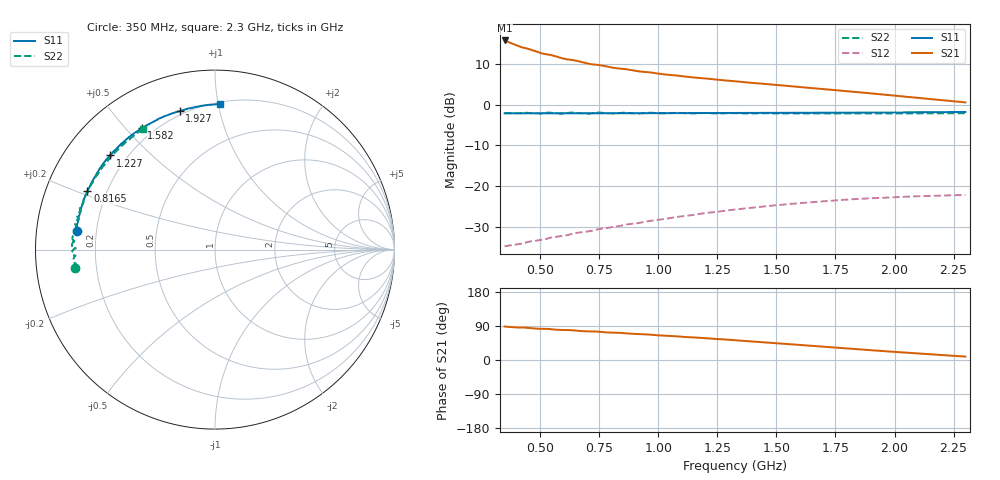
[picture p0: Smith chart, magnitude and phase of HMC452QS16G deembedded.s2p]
! Hittite Microwave Corporation
! 20 Alpha Road
! Chelmsford, MA 01824
! http://www.hittite.com
! Tel: 978-250-3343
! Fax: 978-250-3373
! Device: HMC452QS16G, .4-2.2 GHz, InGaP HBT 1 Watt Power Amplifier
! Misc: Vdd=+5V,  Room
!  Deemebedded small signal s-parameters to the package pins.
# MHZ S MA R 50
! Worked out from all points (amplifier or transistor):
!   210 points, 350 MHz to 2.3 GHz, reference 50 ohm
!   highest |S21| = 15.7 dB at 350 MHz (marker M1)
!   |S21| within 3 dB of that: start of sweep to 499.7 MHz
!   unconditionally stable (mu >= 1): start of sweep to end of sweep
!   at 676.6 MHz: K = 1.38, MAG = 17.2 dB, |S12| = -31.3 dB
!   at 1.33 GHz: K = 1.35, MAG = 12.1 dB, |S12| = -25.7 dB
!   at 2.3 GHz: K = 1.45, MAG = 7.3 dB, |S12| = -22.2 dB
!   S11 on the Smith chart (normalised r, x): 350 MHz: 0.13, +0.07; 816.5 MHz: 0.13, +0.22; 1.227 GHz: 0.14, +0.38; 1.582 GHz: 0.15, +0.55; 1.927 GHz: 0.18, +0.76; 2.3 GHz: 0.21, +1.01
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350  0.7779 172.3  6.089 88.4  0.01841 36.0  0.7883 -172.4
387.3206  0.7796 170.9  5.497 86.4  0.01911 36.9  0.7809 -173.9
415.311  0.7811 169.9  5.096 85.6  0.01956 38.2  0.7821 -174.4
433.9713  0.7801 169.1  4.933 85.5  0.02021 39.5  0.7924 -175.4
471.2919  0.7796 167.9  4.59 83.4  0.02127 39.8  0.7827 -177.2
508.6124  0.7805 166.6  4.228 82.3  0.02196 41.0  0.7785 -177.5
527.2727  0.7807 165.9  4.118 82.3  0.0226 42.0  0.7925 -178.1
545.933  0.7795 165.2  4.04 81.2  0.02345 42.0  0.7922 -179.8
564.5933  0.779 164.5  3.901 80.1  0.02384 41.7  0.7829 179.5
601.9139  0.781 163.2  3.635 79.2  0.0247 42.8  0.777 179.5
629.9043  0.7807 162.0  3.528 78.8  0.02584 43.7  0.7967 178.7
676.555  0.7808 160.5  3.309 76.3  0.02726 43.2  0.7791 176.4
704.5455  0.7816 159.4  3.166 75.6  0.02795 43.7  0.7742 176.6
816.5072  0.7823 155.3  2.8 72.1  0.03175 44.2  0.7782 173.8
1003.11  0.7833 147.8  2.384 65.0  0.03871 42.4  0.7801 167.7
1227.033  0.7858 138.1  2.044 56.3  0.04771 38.2  0.7806 161.1
1329.665  0.7863 133.3  1.919 51.9  0.05195 35.6  0.7843 157.8
1581.579  0.7895 121.1  1.655 40.6  0.06139 27.8  0.779 148.9
1656.22  0.7898 117.4  1.583 37.1  0.06395 25.3  0.7769 146.1
1926.794  0.7961 104.3  1.346 24.7  0.07183 15.8  0.7762 135.3
1982.775  0.799 101.6  1.301 22.2  0.07292 13.7  0.7762 133.0
2300  0.8103 88.2  1.061 9.0  0.07802 3.3  0.7824 120.8
